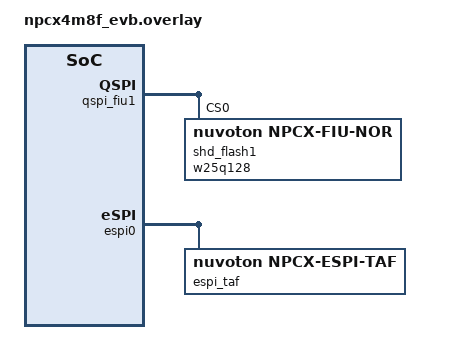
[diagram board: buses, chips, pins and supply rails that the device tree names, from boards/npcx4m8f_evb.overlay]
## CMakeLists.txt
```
# SPDX-License-Identifier: Apache-2.0

cmake_minimum_required(VERSION 3.20.0)

find_package(Zephyr REQUIRED HINTS $ENV{ZEPHYR_BASE})
project(npcx_tests)

target_sources(app PRIVATE src/main.c)
target_sources(app PRIVATE src/test_espi_taf.c)
target_sources(app PRIVATE src/taf_util.h)
```

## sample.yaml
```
sample:
  name: espi taf
  description: eSPI TAF test sample, the simplest Zephyr application
common:
    tags: drivers espi
    integration_platforms:
      - npcx4m8f_evb
    harness: console
    harness_config:
      type: multi_line

tests:
  sample.board.npcx_evb:
    tags: espi
    filter: CONFIG_ESPI and
            CONFIG_ESPI_FLASH_CHANNEL and
            CONFIG_ESPI_SAF
    harness: console
```

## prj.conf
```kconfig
CONFIG_SERIAL=y
CONFIG_NATIVE_UART_0_ON_STDINOUT=y
CONFIG_PRINTK=y
CONFIG_UART_INTERRUPT_DRIVEN=y
CONFIG_SHELL=y
CONFIG_SHELL_PROMPT_UART="ec:~$ "
CONFIG_LOG=y
CONFIG_ESPI=y
CONFIG_ESPI_FLASH_CHANNEL=y
```

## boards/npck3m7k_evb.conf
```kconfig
# Add your own Kconfig option for npck3m7k_evb here

CONFIG_SERIAL=y
CONFIG_NATIVE_UART_0_ON_STDINOUT=y
CONFIG_PRINTK=y
CONFIG_UART_INTERRUPT_DRIVEN=y
CONFIG_SHELL=y
CONFIG_SHELL_PROMPT_UART="ec:~$ "
CONFIG_LOG=y
CONFIG_FLASH=y
CONFIG_SPI=y
CONFIG_FLASH_JESD216_API=y
CONFIG_LOG_BLOCK_IN_THREAD=y
CONFIG_FLASH_EX_OP_ENABLED=y
CONFIG_ESPI=y
CONFIG_ESPI_FLASH_CHANNEL=y
CONFIG_ESPI_SAF=y
CONFIG_SOC_SERIES_NPCK3=y
CONFIG_ESPI_TAF_PR_NUM=20
```

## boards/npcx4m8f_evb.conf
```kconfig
# Add your own Kconfig option for npcx4m8f_evb here
CONFIG_SERIAL=y
CONFIG_NATIVE_UART_0_ON_STDINOUT=y
CONFIG_PRINTK=y
CONFIG_UART_INTERRUPT_DRIVEN=y
CONFIG_SHELL=y
CONFIG_SHELL_PROMPT_UART="ec:~$ "
CONFIG_LOG=y
CONFIG_FLASH=y
CONFIG_SPI=y
CONFIG_FLASH_JESD216_API=y
CONFIG_LOG_BLOCK_IN_THREAD=y
CONFIG_FLASH_EX_OP_ENABLED=y
CONFIG_ESPI=y
CONFIG_ESPI_FLASH_CHANNEL=y
CONFIG_ESPI_SAF=y
CONFIG_ESPI_TAF_PR_NUM=16
```

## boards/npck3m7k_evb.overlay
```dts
/*
 * Copyright (c) 2023 Nuvoton Technology Corporation.
 *
 * SPDX-License-Identifier: Apache-2.0
 */

/ {
	chosen {
		zephyr,shell-uart = &uart1;
	};

	aliases {
		/* For samples/drivers/spi_flash */
		taf-flash = &shd_flash;
	};
};

&qspi_fiu0 {
	status = "okay";
};

&espi0 {
	espi_taf: espitaf@4000a000 {
		compatible = "nuvoton,npcx-espi-taf";
		reg = <0x4000a000 0x2000>;

		mapped-addr = <0x70000000>;
		max-read-sz = "64B";
		erase-sz = "SIZE_4KB";

		#address-cells = <1>;
		#size-cells = <1>;
		status = "okay";
	};
};
```

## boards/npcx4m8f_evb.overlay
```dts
/*
 * Copyright (c) 2023 Nuvoton Technology Corporation.
 *
 * SPDX-License-Identifier: Apache-2.0
 */

/ {
	chosen {
		zephyr,shell-uart = &uart1;
	};

	aliases {
		/* For samples/drivers/spi_flash */
		taf-flash = &shd_flash1;
	};
};

/* Add nand flash */
&qspi_fiu1 {
	status = "okay";
	en-direct-access-2dev;

	/* NAND flash */
	shd_flash0: w25n01kv@0 {
		compatible ="nuvoton,npcx-fiu-nand";
		size = <0x40000000>; /* 1G bits = 128 Mbytes */
		max-timeout = <86784>;
		reg = <0>;

		status = "disabled";

		/* Config for npcx4 SVB board - CS0 */
		qspi-flags = <NPCX_QSPI_SW_CS0>;
		mapped-addr = <0x68000000>;
		pinctrl-0 = <&fiu_ext_io0_io1_clk_cs_gpa4_96_a2_a0
			     &fiu_ext_quad_io2_io3_gp93_a7
			     &ext_flash_tris_off>;
		pinctrl-names = "default";

		/* Config for npcx4 PIGGY board - CS1 */
		/* qspi-flags = <(NPCX_QSPI_SW_CS0 | NPCX_QSPI_SEC_FLASH_SL)>;
		mapped-addr = <0x6C000000>;
		pinctrl-0 = <&fiu_ext_io0_io1_clk_cs_gpa4_96_a2_a0
			     &fiu_ext_quad_io2_io3_gp93_a7
			     &ext_flash_tris_off
			     &ext_flash_cs1_sl>;
		pinctrl-names = "default"; */

		/* Read, write mode selection */
		rd-mode = "NPCX_RD_MODE_FAST_QUAD";
		dmm-cyc = <0x84>;
		wr-mode = "QUAD_OUTPUT";

		/* nand flash information */
		page-size = <0x800>;    /* 1 page = 2048 bytes*/
		page-num = <0x10000>;
		block-size = <0x20000>; /* 1 block = 64 pages = 128K */
		block-num = <0x400>;

	};

	/* NOR flash */
	shd_flash1: w25q128@1 {
		compatible ="nuvoton,npcx-fiu-nor";
		size = <0x8000000>; /* 134217728 bits = 16 Mbytes */
		max-timeout = <86784>;
		reg = <0>;
		quad-enable-requirements = "S2B1v1";
		status = "okay";

		/* Config for npcx4 SVB board - CS0 */
		qspi-flags = <NPCX_QSPI_SW_CS0>;
		mapped-addr = <0x68000000>;
		pinctrl-0 = <&fiu_ext_io0_io1_clk_cs_gpa4_96_a2_a0
			     &fiu_ext_quad_io2_io3_gp93_a7
			     &ext_flash_tris_off>;
		pinctrl-names = "default";

		/* quad spi bus configuration of nor flash device */
		/* qspi-flags = <(NPCX_QSPI_SW_CS0 | NPCX_QSPI_SEC_FLASH_SL)>;
		mapped-addr = <0x6C000000>;
		pinctrl-0 = <&fiu_ext_io0_io1_clk_cs_gpa4_96_a2_a0
			     &fiu_ext_quad_io2_io3_gp93_a7
			     &ext_flash_tris_off
			     &ext_flash_cs1_sl>;
		pinctrl-names = "default"; */
	};
};

&espi0 {
	espi_taf: espitaf@4000a000 {
		compatible = "nuvoton,npcx-espi-taf";
		reg = <0x4000a000 0x2000>;

		mapped-addr = <0x68000000>;
		max-read-sz = "64B";
		erase-sz = "SIZE_4KB";

		#address-cells = <1>;
		#size-cells = <1>;
		status = "okay";
	};
};
```

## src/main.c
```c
/*
 * Copyright (c) 2023 Nuvoton Technology Corporation.
 *
 * SPDX-License-Identifier: Apache-2.0
 */

#include <zephyr/device.h>
#include <zephyr/kernel.h>
#include <zephyr/pm/policy.h>
#include <zephyr/shell/shell.h>
#include <zephyr/shell/shell_uart.h>

#define LOG_LEVEL LOG_LEVEL_INF
#include <zephyr/logging/log.h>
LOG_MODULE_REGISTER(main);

/* Test function declarations */
void test_espi_taf_init(void);

/* Main entry */
int main(void)
{
	LOG_INF("--- CI20 Zephyr Driver Validation ---");

	/* Zephyr driver validation init */
	test_espi_taf_init();

	/* Let main thread go to sleep state */
	k_sleep(K_FOREVER);

	return 0;
}

/* Custom PM policy handler to forbid ec enter deep sleep if CONFIG_PM is enabled */
const struct pm_state_info *pm_policy_next_state(uint8_t cpu, int32_t ticks)
{
	ARG_UNUSED(cpu);

	return NULL;
}
```

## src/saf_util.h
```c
/*
 * Copyright (c) 2023 Nuvoton Technology Corporation.
 *
 * SPDX-License-Identifier: Apache-2.0
 */

#ifndef __SAF_UTIL_H__
#define __SAF_UTIL_H__

#include <zephyr/sys/util.h>

#define CAL_DATA_FROM_ADDR(n) ((uint8_t)(((n) * 3) + 2) + (n >> 11))

enum {
	ESPI_FLASH_SAF_REQ_READ  = 0,
	ESPI_FLASH_SAF_REQ_WRITE = 1,
	ESPI_FLASH_SAF_REQ_ERASE = 2,
	ESPI_FLASH_SAF_REQ_RPMC_OP1  = 3,
	ESPI_FLASH_SAF_REQ_RPMC_OP2  = 4,
	ESPI_FLASH_SAF_REQ_UNKNOWN = 5,
};

struct saf_handle_data {
	uint8_t  saf_type;
	uint8_t  saf_tag;
	uint32_t address;
	uint16_t length;
	uint32_t src[16];
	uint8_t *buf;
	struct k_work work;
};

struct saf_handle_data saf_data;

#endif /*__SAF_UTIL_H__*/
```

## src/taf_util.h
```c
/*
 * Copyright (c) 2023 Nuvoton Technology Corporation.
 *
 * SPDX-License-Identifier: Apache-2.0
 */

#ifndef __TAF_UTIL_H__
#define __TAF_UTIL_H__

#include <zephyr/sys/util.h>

#define CAL_DATA_FROM_ADDR(n) ((uint8_t)(((n) * 3) + 2) + (n >> 11))

struct taf_handle_data {
	uint8_t  taf_type;
	uint8_t  taf_tag;
	uint32_t address;
	uint16_t length;
	uint32_t src[16];
	uint8_t *buf;
	struct k_work work;
};

struct taf_handle_data taf_data;

#endif /*__TAF_UTIL_H__*/
```

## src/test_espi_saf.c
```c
/*
 * Copyright (c) 2023 Nuvoton Technology Corporation.
 *
 * SPDX-License-Identifier: Apache-2.0
 */

#include <errno.h>
#include <soc.h>
#include <stdlib.h>
#include <stdio.h>
#include <zephyr/device.h>
#include <zephyr/drivers/gpio.h>
#include <zephyr/drivers/espi.h>
#include <zephyr/drivers/spi.h>
#include <zephyr/kernel.h>
#include <zephyr/logging/log_ctrl.h>
#include <zephyr/logging/log.h>
#include <zephyr/shell/shell.h>
#include <zephyr/shell/shell_uart.h>
#if defined(CONFIG_ESPI_SAF)
#include <zephyr/drivers/espi_saf.h>
#include <zephyr/drivers/flash.h>
#include "saf_util.h"
#endif

LOG_MODULE_REGISTER(espi_saf);

#define ESPI_FREQ_20MHZ			20u
#define ESPI_FREQ_25MHZ			25u

#define K_WAIT_DELAY			100u

/* eSPI flash parameters */
#define MAX_TEST_BUF_SIZE		1024u
#define MAX_FLASH_REQUEST		64u
#if defined(CONFIG_SOC_SERIES_NPCK3) || defined(CONFIG_SOC_SERIES_NPCX4)
/* Max Flash tx buffer is 64-byte in NPCK3/NPCX4 EC */
#define MAX_FLASH_WRITE_REQUEST		64u
#else
/* Max Flash tx buffer is 16-byte in NPCX EC */
#define MAX_FLASH_WRITE_REQUEST		16u
#endif
#define MAX_FLASH_ERASE_BLOCK		64u
#define TARGET_FLASH_REGION		0x72000ul

/* eSPI event */
#define EVENT_MASK			0x0000FFFFu
#define EVENT_DETAILS_MASK		0xFFFF0000u
#define EVENT_DETAILS_POS		16u
#define EVENT_TYPE(x)			(x & EVENT_MASK)
#define EVENT_DETAILS(x)		((x & EVENT_DETAILS_MASK) >> EVENT_DETAILS_POS)
#define SPI_NAND_PAGE_SIZE		0x0800U
#define NUM_FLASH_DEVICE ARRAY_SIZE(flash_devices)

static const struct device *const espi_dev = DEVICE_DT_GET(DT_NODELABEL(espi0));
#if defined(CONFIG_ESPI_SAF)
static const struct device *const saf_dev = DEVICE_DT_GET(DT_NODELABEL(espi_saf));
static const struct device *const spi_dev = DEVICE_DT_GET(DT_ALIAS(flash_dev));
#endif

static struct espi_callback espi_bus_cb;
static struct espi_callback vw_rdy_cb;
static struct espi_callback vw_cb;
static struct espi_callback p80_cb;
#if defined(CONFIG_ESPI_SAF) && defined(CONFIG_ESPI_FLASH_CHANNEL)
static struct espi_callback espi_saf_cb;
#endif
static uint8_t espi_rst_sts;
static uint8_t nand_data_buf[SPI_NAND_PAGE_SIZE];

#ifdef CONFIG_ESPI_FLASH_CHANNEL
#if defined(CONFIG_ESPI_SAF)
static uint8_t tx_buf_data[MAX_TEST_BUF_SIZE];
#endif
#endif

static const struct espi_saf_pr flash_protect_regions[2] = {
	{
		.start = 0x10004U,
		.end =  0x10004U,
		.override_r = 0x5A5A,
		.override_w = 0xA5A5,
		.master_bm_we = 1,
		.master_bm_rd = 0,
		.pr_num = 0,
		.flags = 1,
	},
	{
		.start = 0x10006U,
		.end =  0x10006U,
		.override_r = 0x5A5A,
		.override_w = 0xA5A5,
		.master_bm_we = 0,
		.master_bm_rd = 1,
		.pr_num = 1,
		.flags = 1,
	},
};

static const struct espi_saf_cfg saf_cfg_nand = {
	.nflash_devices = 1U,
};

static const struct espi_saf_protection saf_pr_flash = {
	.nregions = 2U,
	.pregions = flash_protect_regions
};

void flash_handler(struct k_work *item);

static void host_warn_handler(uint32_t signal, uint32_t status)
{
	switch (signal) {
	case ESPI_VWIRE_SIGNAL_HOST_RST_WARN:
		LOG_INF("Host reset warning %d", status);
		if (!IS_ENABLED(CONFIG_ESPI_AUTOMATIC_WARNING_ACKNOWLEDGE)) {
			LOG_INF("HOST RST ACK %d", status);
			espi_send_vwire(espi_dev, ESPI_VWIRE_SIGNAL_HOST_RST_ACK, status);
		}
		break;
	case ESPI_VWIRE_SIGNAL_SUS_WARN:
		LOG_INF("Host suspend warning %d", status);
		if (!IS_ENABLED(CONFIG_ESPI_AUTOMATIC_WARNING_ACKNOWLEDGE)) {
			LOG_INF("SUS ACK %d", status);
			espi_send_vwire(espi_dev, ESPI_VWIRE_SIGNAL_SUS_ACK, status);
		}
		break;
	default:
		break;
	}
}

/* eSPI bus event handler */
static void espi_reset_handler(const struct device *dev, struct espi_callback *cb,
			       struct espi_event event)
{
	if (event.evt_type == ESPI_BUS_RESET) {
		espi_rst_sts = event.evt_data;
		LOG_INF("eSPI BUS reset %d", event.evt_data);
	}
}

/* eSPI logical channels enable/disable event handler */
static void espi_ch_handler(const struct device *dev, struct espi_callback *cb,
			    struct espi_event event)
{
	if (event.evt_type == ESPI_BUS_EVENT_CHANNEL_READY) {
		switch (event.evt_details) {
		case ESPI_CHANNEL_VWIRE:
			LOG_INF("VW channel event %x", event.evt_data);
			break;
		case ESPI_CHANNEL_FLASH:
			LOG_INF("Flash channel event %d", event.evt_data);
			break;
		case ESPI_CHANNEL_OOB:
			LOG_INF("OOB channel event %d", event.evt_data);
			break;
		default:
			LOG_ERR("Unknown channel event");
		}
	}
}

static void vwire_handler(const struct device *dev, struct espi_callback *cb,
			  struct espi_event event)
{
	if (event.evt_type == ESPI_BUS_EVENT_VWIRE_RECEIVED) {
		switch (event.evt_details) {
		case ESPI_VWIRE_SIGNAL_PLTRST:
			LOG_INF("PLT_RST changed %d", event.evt_data);
			break;
		case ESPI_VWIRE_SIGNAL_SLP_S3:
		case ESPI_VWIRE_SIGNAL_SLP_S4:
		case ESPI_VWIRE_SIGNAL_SLP_S5:
			LOG_INF("SLP signal changed %d", event.evt_data);
			break;
		case ESPI_VWIRE_SIGNAL_SUS_WARN:
		case ESPI_VWIRE_SIGNAL_HOST_RST_WARN:
			host_warn_handler(event.evt_details, event.evt_data);
			break;
		}
	}
}

/* eSPI peripheral channel notifications handler */
static void periph_handler(const struct device *dev, struct espi_callback *cb,
			   struct espi_event event)
{
	uint8_t periph_type;
	uint8_t periph_index;

	periph_type = EVENT_TYPE(event.evt_details);
	periph_index = EVENT_DETAILS(event.evt_details);

	switch (periph_type) {
	case ESPI_PERIPHERAL_DEBUG_PORT80:
		LOG_INF("Postcode %x", event.evt_data);
		break;
	case ESPI_PERIPHERAL_HOST_IO:
		LOG_INF("ACPI %x", event.evt_data);
		espi_remove_callback(espi_dev, &p80_cb);
		break;
	default:
		LOG_INF("%s periph 0x%x [%x]", __func__, periph_type, event.evt_data);
	}
}

#ifdef CONFIG_ESPI_FLASH_CHANNEL
#if defined(CONFIG_ESPI_SAF)
int saf_npcx_flash_read(const struct device *dev, struct saf_handle_data *info)
{
	struct espi_saf_npcx_pckt saf_data;
	struct espi_saf_packet pckt_saf;

	pckt_saf.flash_addr = info->address;
	pckt_saf.len = info->length;
	saf_data.tag = info->saf_tag;
	saf_data.data = (uint8_t *)info->buf;
	pckt_saf.buf = (uint8_t *)&saf_data;

	return espi_saf_flash_read(dev, &pckt_saf);
}

int saf_npcx_flash_write(const struct device *dev, struct saf_handle_data *info)
{
	struct espi_saf_npcx_pckt saf_data;
	struct espi_saf_packet pckt_saf;

	pckt_saf.flash_addr = info->address;
	pckt_saf.len = info->length;
	saf_data.tag = info->saf_tag;
	saf_data.data = (uint8_t *)info->src;
	pckt_saf.buf = (uint8_t *)&saf_data;
	return espi_saf_flash_write(dev, &pckt_saf);
}

int saf_npcx_flash_erase(const struct device *dev, struct saf_handle_data *info)
{
	struct espi_saf_npcx_pckt saf_data;
	struct espi_saf_packet pckt_saf;

	pckt_saf.flash_addr = info->address;
	pckt_saf.len = info->length;
	saf_data.tag = info->saf_tag;
	saf_data.data = (uint8_t *)info->buf;
	pckt_saf.buf = (uint8_t *)&saf_data;
	return espi_saf_flash_erase(dev, &pckt_saf);
}

int saf_npcx_flash_unsupport(const struct device *dev, struct saf_handle_data *info)
{
	struct espi_saf_npcx_pckt saf_data;
	struct espi_saf_packet pckt_saf;

	pckt_saf.flash_addr = info->address;
	pckt_saf.len = info->length;
	saf_data.tag = info->saf_tag;
	saf_data.data = (uint8_t *)info->buf;
	pckt_saf.buf = (uint8_t *)&saf_data;

	espi_send_vwire(espi_dev, ESPI_VWIRE_SIGNAL_ERR_NON_FATAL, 1);

	return espi_saf_flash_unsuccess(dev, &pckt_saf);
}

/* Parse the information for eSPI SAF */
void espi_saf_handler(const struct device *dev, struct saf_handle_data *pckt,
		      struct espi_event event)
{
	uint32_t saf_hdr;
	uint32_t *data_ptr;
	uint8_t  i, roundsize;

	data_ptr = (uint32_t *)event.evt_data;

	saf_hdr = LE32(*data_ptr);
	pckt->saf_type = MSB1(saf_hdr);
	pckt->length = LSW(saf_hdr) & 0xFFF;
	pckt->saf_tag = MSN(MSB2(saf_hdr));

	if (pckt->length == 0 && (pckt->saf_type & 0xF) != ESPI_FLASH_SAF_REQ_ERASE) {
		pckt->length = _4KB_;
	}

	/* Get address from FLASHRXBUF1 */
	if (CONFIG_ESPI_SAF_DIRECT_ACCESS) {
		pckt->address = LE32(*(data_ptr + 1));
	} else {
		pckt->address = LE32(*data_ptr);
	}
	pckt->buf = tx_buf_data;

	/* Get written data if eSPI SAF write */
	if ((pckt->saf_type & 0xF) == ESPI_FLASH_SAF_REQ_WRITE) {
		roundsize = DIV_CEILING(pckt->length, sizeof(uint32_t));
		for (i = 0; i < roundsize; i++) {
			if (CONFIG_ESPI_SAF_DIRECT_ACCESS) {
				pckt->src[i] = *(data_ptr + (i + 2));
			} else {
				pckt->src[i] = *data_ptr;
			}
		}
	}
}

/* eSPI SAF event handler */
static void espi_saf_ev_handler(const struct device *dev, struct espi_callback *cb,
				struct espi_event event)
{
	if (event.evt_type == ESPI_BUS_SAF_NOTIFICATION) {
		if (event.evt_details == ESPI_CHANNEL_FLASH) {
			espi_saf_handler(dev, &saf_data, event);
			k_work_submit(&saf_data.work);
		}
	}
}
#endif /* CONFIG_ESPI_SAF */
#endif /* CONFIG_ESPI_FLASH_CHANNEL */

int espi_init(void)
{
	int ret;
	struct espi_cfg cfg = {
		.io_caps = ESPI_IO_MODE_SINGLE_LINE,
		.channel_caps = ESPI_CHANNEL_VWIRE | ESPI_CHANNEL_PERIPHERAL,
		.max_freq = ESPI_FREQ_20MHZ,
	};

	cfg.channel_caps |= ESPI_CHANNEL_OOB;
	cfg.channel_caps |= ESPI_CHANNEL_FLASH;
	cfg.io_caps |= (ESPI_IO_MODE_QUAD_LINES | ESPI_IO_MODE_DUAL_LINES);
	cfg.max_freq = ESPI_FREQ_25MHZ;

	ret = espi_config(espi_dev, &cfg);
	if (ret) {
		LOG_ERR("Failed to configure eSPI slave channels:%x err: %d",
			cfg.channel_caps, ret);
		return ret;
	}

	LOG_INF("eSPI slave configured successfully!");
	LOG_INF("eSPI test - callbacks initialization... ");

	espi_init_callback(&espi_bus_cb, espi_reset_handler, ESPI_BUS_RESET);
	espi_init_callback(&vw_rdy_cb, espi_ch_handler, ESPI_BUS_EVENT_CHANNEL_READY);
	espi_init_callback(&vw_cb, vwire_handler, ESPI_BUS_EVENT_VWIRE_RECEIVED);
	espi_init_callback(&p80_cb, periph_handler, ESPI_BUS_PERIPHERAL_NOTIFICATION);
#if defined(CONFIG_ESPI_SAF) && defined(CONFIG_ESPI_FLASH_CHANNEL)
	espi_init_callback(&espi_saf_cb, espi_saf_ev_handler, ESPI_BUS_SAF_NOTIFICATION);
#endif
	LOG_INF("complete");
	LOG_INF("eSPI test - callbacks registration... ");
	espi_add_callback(espi_dev, &espi_bus_cb);
	espi_add_callback(espi_dev, &vw_rdy_cb);
	espi_add_callback(espi_dev, &vw_cb);
	espi_add_callback(espi_dev, &p80_cb);
#if defined(CONFIG_ESPI_SAF) && defined(CONFIG_ESPI_FLASH_CHANNEL)
	espi_add_callback(espi_dev, &espi_saf_cb);
#endif
	LOG_INF("complete");
	return ret;
}

static int wait_for_vwire(const struct device *espi_dev, enum espi_vwire_signal signal,
			  uint16_t timeout, uint8_t exp_level)
{
	int ret;
	uint8_t level;
	uint16_t loop_cnt = timeout;

	do {
		ret = espi_receive_vwire(espi_dev, signal, &level);
		if (ret) {
			LOG_ERR("Failed to read %x %d", signal, ret);
			return -EIO;
		}

		if (exp_level == level) {
			break;
		}

		k_usleep(K_WAIT_DELAY);
		loop_cnt--;
	} while (loop_cnt > 0);

	if (loop_cnt == 0) {
		LOG_ERR("VWIRE %d is %x", signal, level);
		return -ETIMEDOUT;
	}

	return 0;
}

static int wait_for_espi_reset(uint8_t exp_sts)
{
	uint16_t loop_cnt = CONFIG_ESPI_VIRTUAL_WIRE_TIMEOUT;

	do {
		if (exp_sts == espi_rst_sts) {
			break;
		}
		k_usleep(K_WAIT_DELAY);
		loop_cnt--;
	} while (loop_cnt > 0);

	if (loop_cnt == 0)
		return -ETIMEDOUT;

	return 0;
}

int espi_handshake(void)
{
	int ret;

	LOG_INF("eSPI test - Handshake with eSPI master...");
	ret = wait_for_vwire(espi_dev, ESPI_VWIRE_SIGNAL_SUS_WARN,
				 CONFIG_ESPI_VIRTUAL_WIRE_TIMEOUT, 1);
	if (ret) {
		LOG_ERR("SUS_WARN Timeout");
		return ret;
	}

	LOG_INF("1st phase completed");
	ret = wait_for_vwire(espi_dev, ESPI_VWIRE_SIGNAL_SLP_S5,
				 CONFIG_ESPI_VIRTUAL_WIRE_TIMEOUT, 1);
	if (ret) {
		LOG_ERR("SLP_S5 Timeout");
		return ret;
	}

	ret = wait_for_vwire(espi_dev, ESPI_VWIRE_SIGNAL_SLP_S4,
				 CONFIG_ESPI_VIRTUAL_WIRE_TIMEOUT, 1);
	if (ret) {
		LOG_ERR("SLP_S4 Timeout");
		return ret;
	}

	ret = wait_for_vwire(espi_dev, ESPI_VWIRE_SIGNAL_SLP_S3,
				 CONFIG_ESPI_VIRTUAL_WIRE_TIMEOUT, 1);
	if (ret) {
		LOG_ERR("SLP_S3 Timeout");
		return ret;
	}

	LOG_INF("2nd phase completed");

	ret = wait_for_vwire(espi_dev, ESPI_VWIRE_SIGNAL_PLTRST,
				 CONFIG_ESPI_VIRTUAL_WIRE_TIMEOUT, 1);
	if (ret) {
		LOG_ERR("PLT_RST Timeout");
		return ret;
	}

	LOG_INF("3rd phase completed");

	return 0;
}

static void espi_saf_thread_entry(void)
{
	int ret;
	int enable = 1;

	if (!device_is_ready(espi_dev)) {
		LOG_ERR("espi device %s not ready", espi_dev->name);
		return;
	}

	LOG_INF("espi device %s is ready", espi_dev->name);

	espi_init();

	espi_write_lpc_request(espi_dev, ECUSTOM_HOST_SUBS_INTERRUPT_EN, &enable);

	ret = wait_for_espi_reset(1);
	if (ret) {
		LOG_INF("ESPI_RESET timeout");
		return;
	}

	ret = espi_handshake();
	if (ret) {
		LOG_ERR("eSPI VW handshake failed %d", ret);
		return;
	}
	LOG_INF("eSPI sample completed err: %d", ret);

	espi_saf_config(saf_dev, &saf_cfg_nand);
	espi_saf_activate(saf_dev);

	k_work_init(&saf_data.work, flash_handler);
}

void flash_handler(struct k_work *item)
{
	struct saf_handle_data *info = CONTAINER_OF(item, struct saf_handle_data, work);
	int ret = 0;

	switch (info->saf_type & 0x0F) {
	case ESPI_FLASH_SAF_REQ_READ:
		ret = saf_npcx_flash_read(saf_dev, &saf_data);
		break;
	case ESPI_FLASH_SAF_REQ_ERASE:
		ret = saf_npcx_flash_erase(saf_dev, &saf_data);
		break;
	case ESPI_FLASH_SAF_REQ_WRITE:
		ret = saf_npcx_flash_write(saf_dev, &saf_data);
		break;
	}

	if (ret != 0) {
		ret = saf_npcx_flash_unsupport(saf_dev, &saf_data);
	}
}

#define STACK_SIZE	1024
#define THREAD_PRIORITY 1

K_THREAD_DEFINE(espi_saf_id, STACK_SIZE, espi_saf_thread_entry, NULL, NULL, NULL,
		THREAD_PRIORITY, 0, -1);

void test_espi_saf_init(void)
{
	k_thread_name_set(espi_saf_id, "espi_saf_testing");
	k_thread_start(espi_saf_id);
}

static int flash_erase_cmd(const struct shell *shell, size_t argc, char **argv)
{
	int ret;
	char *eptr;
	/* Convert integer from string */
	uint32_t addr = strtoul(argv[1], &eptr, 0);

	if (*eptr != '\0') {
		shell_error(shell, "Invalid argument, '%s' is not an integer", argv[1]);
		return -EINVAL;
	}

	ret = flash_erase(spi_dev, addr, _128KB_);
	if (ret != 0) {
		LOG_ERR("flash erase failed: %d", ret);
		return -ENODEV;
	}

	LOG_INF("Flash erase succeeded!");
	LOG_INF("[GO]");
	return 0;
}

static int flash_write_cmd(const struct shell *shell, size_t argc, char **argv)
{
	uint32_t data_sz_in = 0x10000U;
	uint32_t wr_size;
	char *eptr;
	int i, ret;
	uint32_t addr_in = strtoul(argv[1], &eptr, 0);

	if (*eptr != '\0') {
		shell_error(shell, "Invalid argument, '%s' is not an integer", argv[1]);
		return -EINVAL;
	}

	/* check address and size sector (512 byte) alignment */
	if ((addr_in & 0x1ff) != 0 || (data_sz_in & 0x1ff) != 0) {
		LOG_ERR("flash addr or size not 512 byte alignment");
		return -ENODEV;
	}

	while (data_sz_in > 0) {
		if (data_sz_in >= sizeof(nand_data_buf)) {
			wr_size = sizeof(nand_data_buf);
		} else {
			wr_size = data_sz_in;
		}

		(void)memset(nand_data_buf, 0, sizeof(nand_data_buf));

		for (i = 0 ; i < wr_size ; i++) {
			nand_data_buf[i]  = CAL_DATA_FROM_ADDR((addr_in + i));
		}

		ret = flash_write(spi_dev, addr_in, nand_data_buf, wr_size);
		if (ret != 0) {
			LOG_ERR("flash erase failed: %d", ret);
			return -ENODEV;
		}

		data_sz_in -= wr_size;
		addr_in += wr_size;
	}

	LOG_INF("Flash write succeeded!");
	LOG_INF("[GO]");
	return 0;
}

int cmd_flash_protection(void)
{
	espi_saf_set_protection_regions(saf_dev, &saf_pr_flash);
	return 0;
}

SHELL_STATIC_SUBCMD_SET_CREATE(sub_espi,
	SHELL_CMD_ARG(flash_erase, NULL, "espi_saf flash_erase <addr>",
		flash_erase_cmd, 2, 0),
	SHELL_CMD_ARG(flash_write, NULL, "espi_saf flash_write <addr>",
		flash_write_cmd, 2, 0),
	SHELL_CMD(set_pr, NULL, "espi_saf set_pr", cmd_flash_protection),
	SHELL_SUBCMD_SET_END /* Array terminated. */
);

SHELL_CMD_REGISTER(espi_saf, &sub_espi, "Test Commands", NULL);
```

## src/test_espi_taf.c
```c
/*
 * Copyright (c) 2023 Nuvoton Technology Corporation.
 *
 * SPDX-License-Identifier: Apache-2.0
 */

#include <errno.h>
#include <soc.h>
#include <stdlib.h>
#include <stdio.h>
#include <zephyr/device.h>
#include <zephyr/drivers/gpio.h>
#include <zephyr/drivers/espi.h>
#include <zephyr/drivers/spi.h>
#include <zephyr/kernel.h>
#include <zephyr/logging/log_ctrl.h>
#include <zephyr/logging/log.h>
#include <zephyr/shell/shell.h>
#include <zephyr/shell/shell_uart.h>
#if defined(CONFIG_ESPI_SAF)
#include <zephyr/drivers/espi_saf.h>
#include <zephyr/drivers/flash.h>
#include "taf_util.h"
#endif
#if defined(CONFIG_FLASH_NPCX_FIU_NAND_INIT)
#include <zephyr/drivers/flash/npcx_flash_api_ex.h>
#include <zephyr/../../drivers/flash/spi_nand.h>
#endif

LOG_MODULE_REGISTER(espi_saf);

#define ESPI_BASE_ADDR			0x4000A000
#define ESPI_FREQ_20MHZ			20u
#define ESPI_FREQ_25MHZ			25u

#define K_WAIT_DELAY			100u

/* eSPI flash parameters */
#define MAX_TEST_BUF_SIZE		1024u

/* eSPI event */
#define EVENT_MASK			0x0000FFFFu
#define EVENT_DETAILS_MASK		0xFFFF0000u
#define EVENT_DETAILS_POS		16u
#define EVENT_TYPE(x)			(x & EVENT_MASK)
#define EVENT_DETAILS(x)		((x & EVENT_DETAILS_MASK) >> EVENT_DETAILS_POS)
#define SPI_NAND_PAGE_SIZE		0x0800U
#define NUM_FLASH_DEVICE		ARRAY_SIZE(flash_devices)

static const struct device *const espi_dev = DEVICE_DT_GET(DT_NODELABEL(espi0));
#if defined(CONFIG_ESPI_SAF)
static const struct device *const taf_dev = DEVICE_DT_GET(DT_NODELABEL(espi_taf));
static const struct device *const spi_dev = DEVICE_DT_GET(DT_ALIAS(taf_flash));
#endif

static struct espi_callback espi_bus_cb;
static struct espi_callback vw_rdy_cb;
static struct espi_callback vw_cb;
static struct espi_callback p80_cb;
#if defined(CONFIG_ESPI_SAF) && defined(CONFIG_ESPI_FLASH_CHANNEL)
static struct espi_callback espi_taf_cb;
#endif
static uint8_t espi_rst_sts;
static uint8_t nand_data_buf[SPI_NAND_PAGE_SIZE];

#ifdef CONFIG_ESPI_FLASH_CHANNEL
#if defined(CONFIG_ESPI_SAF)
static uint8_t tx_buf_data[MAX_TEST_BUF_SIZE];
#endif
#endif

static const struct espi_saf_pr flash_protect_regions[2] = {
	{
		.start = 0x10004U,
		.end =  0x10004U,
		.override_r = 0x5A5A,
		.override_w = 0xA5A5,
		.master_bm_we = 1,
		.master_bm_rd = 0,
		.pr_num = 0,
		.flags = 1,
	},
	{
		.start = 0x10006U,
		.end =  0x10006U,
		.override_r = 0x5A5A,
		.override_w = 0xA5A5,
		.master_bm_we = 0,
		.master_bm_rd = 1,
		.pr_num = 1,
		.flags = 1,
	},
};

static struct espi_saf_cfg taf_cfg_flash = {
	.nflash_devices = 1U,
	.hwcfg = {
		.mode = NPCX_TAF_AUTO_MODE,
	},
};

static const struct espi_saf_protection taf_pr_flash = {
	.nregions = 2U,
	.pregions = flash_protect_regions
};

void flash_handler(struct k_work *item);

static void host_warn_handler(uint32_t signal, uint32_t status)
{
	switch (signal) {
	case ESPI_VWIRE_SIGNAL_HOST_RST_WARN:
		LOG_INF("Host reset warning %d", status);
		if (!IS_ENABLED(CONFIG_ESPI_AUTOMATIC_WARNING_ACKNOWLEDGE)) {
			LOG_INF("HOST RST ACK %d", status);
			espi_send_vwire(espi_dev, ESPI_VWIRE_SIGNAL_HOST_RST_ACK, status);
		}
		break;
	case ESPI_VWIRE_SIGNAL_SUS_WARN:
		LOG_INF("Host suspend warning %d", status);
		if (!IS_ENABLED(CONFIG_ESPI_AUTOMATIC_WARNING_ACKNOWLEDGE)) {
			LOG_INF("SUS ACK %d", status);
			espi_send_vwire(espi_dev, ESPI_VWIRE_SIGNAL_SUS_ACK, status);
		}
		break;
	default:
		break;
	}
}

/* eSPI bus event handler */
static void espi_reset_handler(const struct device *dev, struct espi_callback *cb,
			       struct espi_event event)
{
	if (event.evt_type == ESPI_BUS_RESET) {
		espi_rst_sts = event.evt_data;
		LOG_INF("eSPI BUS reset %d", event.evt_data);
	}
}

/* eSPI logical channels enable/disable event handler */
static void espi_ch_handler(const struct device *dev, struct espi_callback *cb,
			    struct espi_event event)
{
	if (event.evt_type == ESPI_BUS_EVENT_CHANNEL_READY) {
		switch (event.evt_details) {
		case ESPI_CHANNEL_VWIRE:
			LOG_INF("VW channel event %x", event.evt_data);
			break;
		case ESPI_CHANNEL_FLASH:
			LOG_INF("Flash channel event %d", event.evt_data);
			break;
		case ESPI_CHANNEL_OOB:
			LOG_INF("OOB channel event %d", event.evt_data);
			break;
		default:
			LOG_ERR("Unknown channel event");
		}
	}
}

static void vwire_handler(const struct device *dev, struct espi_callback *cb,
			  struct espi_event event)
{
	if (event.evt_type == ESPI_BUS_EVENT_VWIRE_RECEIVED) {
		switch (event.evt_details) {
		case ESPI_VWIRE_SIGNAL_PLTRST:
			LOG_INF("PLT_RST changed %d", event.evt_data);
			break;
		case ESPI_VWIRE_SIGNAL_SLP_S3:
		case ESPI_VWIRE_SIGNAL_SLP_S4:
		case ESPI_VWIRE_SIGNAL_SLP_S5:
			LOG_INF("SLP signal changed %d", event.evt_data);
			break;
		case ESPI_VWIRE_SIGNAL_SUS_WARN:
		case ESPI_VWIRE_SIGNAL_HOST_RST_WARN:
			host_warn_handler(event.evt_details, event.evt_data);
			break;
		}
	}
}

/* eSPI peripheral channel notifications handler */
static void periph_handler(const struct device *dev, struct espi_callback *cb,
			   struct espi_event event)
{
	uint8_t periph_type;
	uint8_t periph_index;

	periph_type = EVENT_TYPE(event.evt_details);
	periph_index = EVENT_DETAILS(event.evt_details);

	switch (periph_type) {
	case ESPI_PERIPHERAL_DEBUG_PORT80:
		LOG_INF("Postcode %x", event.evt_data);
		break;
	case ESPI_PERIPHERAL_HOST_IO:
		LOG_INF("ACPI %x", event.evt_data);
		espi_remove_callback(espi_dev, &p80_cb);
		break;
	default:
		LOG_INF("%s periph 0x%x [%x]", __func__, periph_type, event.evt_data);
	}
}

#ifdef CONFIG_ESPI_FLASH_CHANNEL
#if defined(CONFIG_FLASH_NPCX_FIU_NAND_INIT)
/* Get look up table for NAND flash */
static int nand_flash_get_lut(const struct device *flash_dev,
			      struct nand_flash_lut *lut_ptr)
{
	return flash_ex_op(flash_dev, FLASH_NPCX_EX_OP_NAND_GET_BAD_BLOCK_LUT,
			   (uintptr_t)NULL, lut_ptr);
}

/* Check access region is invalid or not */
bool nand_invalid_check(uint32_t addr, uint32_t len)
{
	struct nand_flash_lut lut_table;
	uint8_t bb_cnt;
	uint16_t cnt;
	uint32_t st_addr = addr;
	uint32_t ed_addr = st_addr + len - 1;
	uint32_t bk_start, bk_end;

	nand_flash_get_lut(spi_dev, &lut_table);
	bb_cnt = lut_table.bbt_count;

	if (bb_cnt > 0 && bb_cnt < 20) {
		for (cnt = 0; cnt < bb_cnt; cnt++) {
			bk_start = KB(128) * lut_table.bbt_list[cnt];
			bk_end = bk_start + KB(128) - 1;
			if (bk_start <= ed_addr && st_addr <= bk_end)
				return true;
		}
		return false;
	} else {
		return false;
	}
}
#endif /* CONFIG_FLASH_NPCX_FIU_NAND_INIT */

#if defined(CONFIG_ESPI_SAF)
int taf_npcx_flash_read(const struct device *dev, struct taf_handle_data *info)
{
	struct espi_taf_npcx_pckt taf_data;
	struct espi_saf_packet pckt_taf;

#if defined(CONFIG_FLASH_NPCX_FIU_NAND_INIT)
	if (nand_invalid_check(info->address, info->length)) {
		LOG_ERR("Access NAND invalid region");
		return -EINVAL;
	}
#endif

	pckt_taf.flash_addr = info->address;
	pckt_taf.len = info->length;
	taf_data.tag = info->taf_tag;
	taf_data.data = (uint8_t *)info->buf;
	pckt_taf.buf = (uint8_t *)&taf_data;

	return espi_saf_flash_read(dev, &pckt_taf);
}

int taf_npcx_flash_write(const struct device *dev, struct taf_handle_data *info)
{
	struct espi_taf_npcx_pckt taf_data;
	struct espi_saf_packet pckt_taf;
#if defined(CONFIG_FLASH_NPCX_FIU_NAND_INIT)
	uint8_t data_buf[512];

	if (info->length < 512) {
		memset(data_buf, 0xFF, sizeof(data_buf));
		memcpy(&data_buf, info->src, info->length);
		info->length = 512;
	}

	if (nand_invalid_check(info->address, info->length)) {
		LOG_ERR("Access NAND flash invalid region");
		return -EINVAL;
	}
#endif

	pckt_taf.flash_addr = info->address;
	pckt_taf.len = info->length;
	taf_data.tag = info->taf_tag;
#if defined(CONFIG_FLASH_NPCX_FIU_NAND_INIT)
	taf_data.data = (uint8_t *)&data_buf;
#else
	taf_data.data = (uint8_t *)info->src;
#endif
	pckt_taf.buf = (uint8_t *)&taf_data;

	return espi_saf_flash_write(dev, &pckt_taf);
}

int taf_npcx_flash_erase(const struct device *dev, struct taf_handle_data *info)
{
	struct espi_taf_npcx_pckt taf_data;
	struct espi_saf_packet pckt_taf;
	uint32_t len;
	int erase_blk[4] = {KB(4), KB(32), KB(64), KB(128)};

	len = erase_blk[info->length];

#if defined(CONFIG_FLASH_NPCX_FIU_NAND_INIT)
	if (len != KB(128)) {
		LOG_ERR("Erase size not meet 128KB alignment");
		return -EINVAL;
	}

	if (nand_invalid_check(info->address, len)) {
		LOG_ERR("Access invalid NAND flash region");
		return -EINVAL;
	}
#endif

	pckt_taf.flash_addr = info->address;
	pckt_taf.len = len;
	taf_data.tag = info->taf_tag;
	taf_data.data = (uint8_t *)info->buf;
	pckt_taf.buf = (uint8_t *)&taf_data;
	return espi_saf_flash_erase(dev, &pckt_taf);
}

int taf_npcx_flash_unsupport(const struct device *dev, struct taf_handle_data *info)
{
	struct espi_taf_npcx_pckt taf_data;
	struct espi_saf_packet pckt_taf;

	pckt_taf.flash_addr = info->address;
	pckt_taf.len = info->length;
	taf_data.tag = info->taf_tag;
	taf_data.data = (uint8_t *)info->buf;
	pckt_taf.buf = (uint8_t *)&taf_data;

	espi_send_vwire(espi_dev, ESPI_VWIRE_SIGNAL_ERR_NON_FATAL, 1);

	return espi_saf_flash_unsuccess(dev, &pckt_taf);
}

/* Parse the information for eSPI TAF */
void espi_taf_handler(const struct device *dev, struct taf_handle_data *pckt,
		      struct espi_event event)
{
	struct espi_taf_pckt *data_ptr;

	data_ptr = (struct espi_taf_pckt *)event.evt_data;

	pckt->taf_type = data_ptr->type;
	pckt->length = data_ptr->len;
	pckt->taf_tag = data_ptr->tag;
	pckt->address = data_ptr->addr;
	pckt->buf = tx_buf_data;
	memcpy(pckt->src, data_ptr->src, sizeof(pckt->src));
}

/* eSPI TAF event handler */
static void espi_taf_ev_handler(const struct device *dev, struct espi_callback *cb,
				struct espi_event event)
{
	if (event.evt_type == ESPI_BUS_SAF_NOTIFICATION) {
		if (event.evt_details == ESPI_CHANNEL_FLASH) {
			espi_taf_handler(dev, &taf_data, event);
			k_work_submit(&taf_data.work);
		}
	}
}
#endif /* CONFIG_ESPI_SAF */
#endif /* CONFIG_ESPI_FLASH_CHANNEL */

int espi_init(void)
{
	int ret;
	struct espi_cfg cfg = {
		.io_caps = ESPI_IO_MODE_SINGLE_LINE,
		.channel_caps = ESPI_CHANNEL_VWIRE | ESPI_CHANNEL_PERIPHERAL,
		.max_freq = ESPI_FREQ_20MHZ,
	};

	cfg.channel_caps |= ESPI_CHANNEL_OOB;
	cfg.channel_caps |= ESPI_CHANNEL_FLASH;
	cfg.io_caps |= (ESPI_IO_MODE_QUAD_LINES | ESPI_IO_MODE_DUAL_LINES);
	cfg.max_freq = ESPI_FREQ_25MHZ;

	ret = espi_config(espi_dev, &cfg);
	if (ret) {
		LOG_ERR("Failed to configure eSPI target channels:%x err: %d",
			cfg.channel_caps, ret);
		return ret;
	}

	LOG_INF("eSPI target configured successfully!");
	LOG_INF("eSPI test - callbacks initialization... ");

	espi_init_callback(&espi_bus_cb, espi_reset_handler, ESPI_BUS_RESET);
	espi_init_callback(&vw_rdy_cb, espi_ch_handler, ESPI_BUS_EVENT_CHANNEL_READY);
	espi_init_callback(&vw_cb, vwire_handler, ESPI_BUS_EVENT_VWIRE_RECEIVED);
	espi_init_callback(&p80_cb, periph_handler, ESPI_BUS_PERIPHERAL_NOTIFICATION);
#if defined(CONFIG_ESPI_SAF) && defined(CONFIG_ESPI_FLASH_CHANNEL)
	espi_init_callback(&espi_taf_cb, espi_taf_ev_handler, ESPI_BUS_SAF_NOTIFICATION);
#endif
	LOG_INF("complete");
	LOG_INF("eSPI test - callbacks registration... ");
	espi_add_callback(espi_dev, &espi_bus_cb);
	espi_add_callback(espi_dev, &vw_rdy_cb);
	espi_add_callback(espi_dev, &vw_cb);
	espi_add_callback(espi_dev, &p80_cb);
#if defined(CONFIG_ESPI_SAF) && defined(CONFIG_ESPI_FLASH_CHANNEL)
	espi_add_callback(espi_dev, &espi_taf_cb);
#endif
	LOG_INF("complete");
	return ret;
}

static int wait_for_vwire(const struct device *espi_dev, enum espi_vwire_signal signal,
			  uint16_t timeout, uint8_t exp_level)
{
	int ret;
	uint8_t level;
	uint16_t loop_cnt = timeout;

	do {
		ret = espi_receive_vwire(espi_dev, signal, &level);
		if (ret) {
			LOG_ERR("Failed to read %x %d", signal, ret);
			return -EIO;
		}

		if (exp_level == level) {
			break;
		}

		k_usleep(K_WAIT_DELAY);
		loop_cnt--;
	} while (loop_cnt > 0);

	if (loop_cnt == 0) {
		LOG_ERR("VWIRE %d is %x", signal, level);
		return -ETIMEDOUT;
	}

	return 0;
}

static int wait_for_espi_reset(uint8_t exp_sts)
{
	uint16_t loop_cnt = CONFIG_ESPI_VIRTUAL_WIRE_TIMEOUT;

	do {
		if (exp_sts == espi_rst_sts) {
			break;
		}
		k_usleep(K_WAIT_DELAY);
		loop_cnt--;
	} while (loop_cnt > 0);

	if (loop_cnt == 0)
		return -ETIMEDOUT;

	return 0;
}

int espi_handshake(void)
{
	int ret;

	LOG_INF("eSPI test - Handshake with eSPI master...");
	ret = wait_for_vwire(espi_dev, ESPI_VWIRE_SIGNAL_SUS_WARN,
				 CONFIG_ESPI_VIRTUAL_WIRE_TIMEOUT, 1);
	if (ret) {
		LOG_ERR("SUS_WARN Timeout");
		return ret;
	}

	LOG_INF("1st phase completed");
	ret = wait_for_vwire(espi_dev, ESPI_VWIRE_SIGNAL_SLP_S5,
				 CONFIG_ESPI_VIRTUAL_WIRE_TIMEOUT, 1);
	if (ret) {
		LOG_ERR("SLP_S5 Timeout");
		return ret;
	}

	ret = wait_for_vwire(espi_dev, ESPI_VWIRE_SIGNAL_SLP_S4,
				 CONFIG_ESPI_VIRTUAL_WIRE_TIMEOUT, 1);
	if (ret) {
		LOG_ERR("SLP_S4 Timeout");
		return ret;
	}

	ret = wait_for_vwire(espi_dev, ESPI_VWIRE_SIGNAL_SLP_S3,
				 CONFIG_ESPI_VIRTUAL_WIRE_TIMEOUT, 1);
	if (ret) {
		LOG_ERR("SLP_S3 Timeout");
		return ret;
	}

	LOG_INF("2nd phase completed");

	ret = wait_for_vwire(espi_dev, ESPI_VWIRE_SIGNAL_PLTRST,
				 CONFIG_ESPI_VIRTUAL_WIRE_TIMEOUT, 1);
	if (ret) {
		LOG_ERR("PLT_RST Timeout");
		return ret;
	}

	LOG_INF("3rd phase completed");

	return 0;
}

static void espi_taf_thread_entry(void)
{
	int ret;
	int enable = 1;

	if (!device_is_ready(espi_dev)) {
		LOG_ERR("espi device %s not ready", espi_dev->name);
		return;
	}

	LOG_INF("espi device %s is ready", espi_dev->name);

	espi_init();

	espi_write_lpc_request(espi_dev, ECUSTOM_HOST_SUBS_INTERRUPT_EN, &enable);

	ret = wait_for_espi_reset(1);
	if (ret) {
		LOG_INF("ESPI_RESET timeout");
		return;
	}

	ret = espi_handshake();
	if (ret) {
		LOG_ERR("eSPI VW handshake failed %d", ret);
		return;
	}
	LOG_INF("eSPI sample completed err: %d", ret);

	espi_saf_config(taf_dev, &taf_cfg_flash);
	espi_saf_activate(taf_dev);

	k_work_init(&taf_data.work, flash_handler);
}

void flash_handler(struct k_work *item)
{
	struct taf_handle_data *info = CONTAINER_OF(item, struct taf_handle_data, work);
	int ret = 0;

	switch (info->taf_type & 0x0F) {
	case NPCX_ESPI_TAF_REQ_READ:
		ret = taf_npcx_flash_read(taf_dev, &taf_data);
		break;
	case NPCX_ESPI_TAF_REQ_ERASE:
		ret = taf_npcx_flash_erase(taf_dev, &taf_data);
		break;
	case NPCX_ESPI_TAF_REQ_WRITE:
		ret = taf_npcx_flash_write(taf_dev, &taf_data);
		break;
	}

	if (ret != 0) {
		ret = taf_npcx_flash_unsupport(taf_dev, &taf_data);
	}
}

#define STACK_SIZE	1024
#define THREAD_PRIORITY 1

K_THREAD_DEFINE(espi_taf_id, STACK_SIZE, espi_taf_thread_entry, NULL, NULL, NULL,
		THREAD_PRIORITY, 0, -1);

void test_espi_taf_init(void)
{
	k_thread_name_set(espi_taf_id, "espi_taf_testing");
	k_thread_start(espi_taf_id);
}

static int flash_erase_cmd(const struct shell *shell, size_t argc, char **argv)
{
	int ret;
	char *eptr;
	/* Convert integer from string */
	uint32_t addr = strtoul(argv[1], &eptr, 0);

	if (*eptr != '\0') {
		shell_error(shell, "Invalid argument, '%s' is not an integer", argv[1]);
		return -EINVAL;
	}

	ret = flash_erase(spi_dev, addr, KB(128));
	if (ret != 0) {
		LOG_ERR("flash erase failed: %d", ret);
		return -ENODEV;
	}

	LOG_INF("Flash erase succeeded!");
	LOG_INF("[GO]");
	return 0;
}

static int flash_write_cmd(const struct shell *shell, size_t argc, char **argv)
{
	uint32_t data_sz_in = 0x10000U;
	uint32_t wr_size;
	char *eptr;
	int i, ret;
	uint32_t addr_in = strtoul(argv[1], &eptr, 0);

	if (*eptr != '\0') {
		shell_error(shell, "Invalid argument, '%s' is not an integer", argv[1]);
		return -EINVAL;
	}

	/* check address and size sector (512 byte) alignment */
	if ((addr_in & 0x1ff) != 0 || (data_sz_in & 0x1ff) != 0) {
		LOG_ERR("flash addr or size not 512 byte alignment");
		return -ENODEV;
	}

	while (data_sz_in > 0) {
		if (data_sz_in >= sizeof(nand_data_buf)) {
			wr_size = sizeof(nand_data_buf);
		} else {
			wr_size = data_sz_in;
		}

		(void)memset(nand_data_buf, 0, sizeof(nand_data_buf));

		for (i = 0 ; i < wr_size ; i++) {
			nand_data_buf[i]  = CAL_DATA_FROM_ADDR((addr_in + i));
		}

		ret = flash_write(spi_dev, addr_in, nand_data_buf, wr_size);
		if (ret != 0) {
			LOG_ERR("flash erase failed: %d", ret);
			return -ENODEV;
		}

		data_sz_in -= wr_size;
		addr_in += wr_size;
	}

	LOG_INF("Flash write succeeded!");
	LOG_INF("[GO]");
	return 0;
}

int cmd_flash_protection(void)
{
	espi_saf_set_protection_regions(taf_dev, &taf_pr_flash);
	return 0;
}

static int cmd_set_taf_flcapa(const struct shell *shell, size_t argc, char **argv)
{
	char *eptr;
	uint32_t val = strtoul(argv[1], &eptr, 0);
	struct espi_reg *const inst = (struct espi_reg *)ESPI_BASE_ADDR;

	if (*eptr != '\0') {
		shell_error(shell, "Invalid argument, '%s' is not an integer", argv[1]);
		return -EINVAL;
	}

	if ((val < 0) || (val > 3)) {
		shell_error(shell, "Invalid argument 0 - 3 (%s)", argv[1]);
		return -EINVAL;
	}

	SET_FIELD(inst->FLASHCFG, NPCX_FLASHCFG_FLCAPA, val);

	return 0;
}

static int cmd_check_taf_readsize(const struct shell *shell, size_t argc, char **argv)
{
	char *eptr;
	uint32_t reqsize;
	uint32_t val = strtoul(argv[1], &eptr, 0);
	struct espi_reg *const inst = (struct espi_reg *)ESPI_BASE_ADDR;

	if (*eptr != '\0') {
		shell_error(shell, "Invalid argument, '%s' is not an integer", argv[1]);
		return -EINVAL;
	}

	if ((val < 0) || (val > 7)) {
		shell_error(shell, "Invalid argument 0 - 7 (%s)", argv[1]);
		return -EINVAL;
	}

	reqsize = GET_FIELD(inst->FLASHCFG, NPCX_FLASHCFG_FLASHREQSIZE);
	if (reqsize == val) {
		LOG_INF("[PASS] FLASHREQSIZE test (%s)", argv[1]);
		LOG_INF("[GO]");
	} else {
		LOG_INF("[FAIL] FLASHREQSIZE test (%x)", reqsize);
	}

	return 0;
}

static int cmd_check_taf_plsize(const struct shell *shell, size_t argc, char **argv)
{
	char *eptr;
	uint32_t plsize;
	uint32_t val = strtoul(argv[1], &eptr, 0);
	struct espi_reg *const inst = (struct espi_reg *)ESPI_BASE_ADDR;

	if (*eptr != '\0') {
		shell_error(shell, "Invalid argument, '%s' is not an integer", argv[1]);
		return -EINVAL;
	}

	if ((val < 1) || (val > 3)) {
		shell_error(shell, "Invalid argument 0 - 3 (%s)", argv[1]);
		return -EINVAL;
	}

	plsize = GET_FIELD(inst->FLASHCFG, NPCX_FLASHCFG_FLASHPLSIZE);
	if (plsize == val) {
		LOG_INF("[PASS] FLASHPLSIZE test (%s)", argv[1]);
		LOG_INF("[GO]");
	} else {
		LOG_INF("[FAIL] FLASHPLSIZE test (%x)", plsize);
	}

	return 0;
}

static int cmd_set_taf_erasesize(const struct shell *shell, size_t argc, char **argv)
{
	char *eptr;
	uint32_t val = strtoul(argv[1], &eptr, 0);
	struct espi_reg *const inst = (struct espi_reg *)ESPI_BASE_ADDR;

	if (*eptr != '\0') {
		shell_error(shell, "Invalid argument, '%s' is not an integer", argv[1]);
		return -EINVAL;
	}

	if ((val < 0) || (val > 7)) {
		shell_error(shell, "Invalid argument 0 - 7 (%s)", argv[1]);
		return -EINVAL;
	}

	SET_FIELD(inst->FLASHCFG, NPCX_FLASHCFG_TRGFLEBLKSIZE, BIT(val));

	return 0;
}

static int cmd_set_taf_mode(const struct shell *shell, size_t argc, char **argv)
{
	char *eptr;
	uint32_t val = strtoul(argv[1], &eptr, 0);

	if ((val < 0) || (val > 7)) {
		shell_error(shell, "Invalid argument 0 - 1 (%s)", argv[1]);
		return -EINVAL;
	}

	taf_cfg_flash.hwcfg.mode = val;

	espi_saf_config(taf_dev, &taf_cfg_flash);

	return 0;
}

SHELL_STATIC_SUBCMD_SET_CREATE(sub_espi,
	SHELL_CMD_ARG(flash_erase, NULL, "espi_taf flash_erase <addr>",
		flash_erase_cmd, 2, 0),
	SHELL_CMD_ARG(flash_write, NULL, "espi_taf flash_write <addr>",
		flash_write_cmd, 2, 0),
	SHELL_CMD_ARG(set_flcapa, NULL, "espi_taf set_flcapa <val>, val = 0 - 3",
		cmd_set_taf_flcapa, 2, 0),
	SHELL_CMD_ARG(check_rdsize, NULL, "espi_taf check_rdsize <val>, val = 0 - 7",
		cmd_check_taf_readsize, 2, 0),
	SHELL_CMD_ARG(check_plsize, NULL, "espi_taf check_plsize <val>, val = 1 - 3",
		cmd_check_taf_plsize, 2, 0),
	SHELL_CMD_ARG(set_ersize, NULL, "espi_taf set_ersize <val>, val = 0 - 7",
		cmd_set_taf_erasesize, 2, 0),
	SHELL_CMD_ARG(set_taf_mode, NULL, "espi_taf set_taf_mode <val>, val = 0 - 1",
		cmd_set_taf_mode, 2, 0),
	SHELL_CMD(set_pr, NULL, "espi_taf set_pr", cmd_flash_protection),
	SHELL_SUBCMD_SET_END /* Array terminated. */
);

SHELL_CMD_REGISTER(espi_taf, &sub_espi, "Test Commands", NULL);
```
